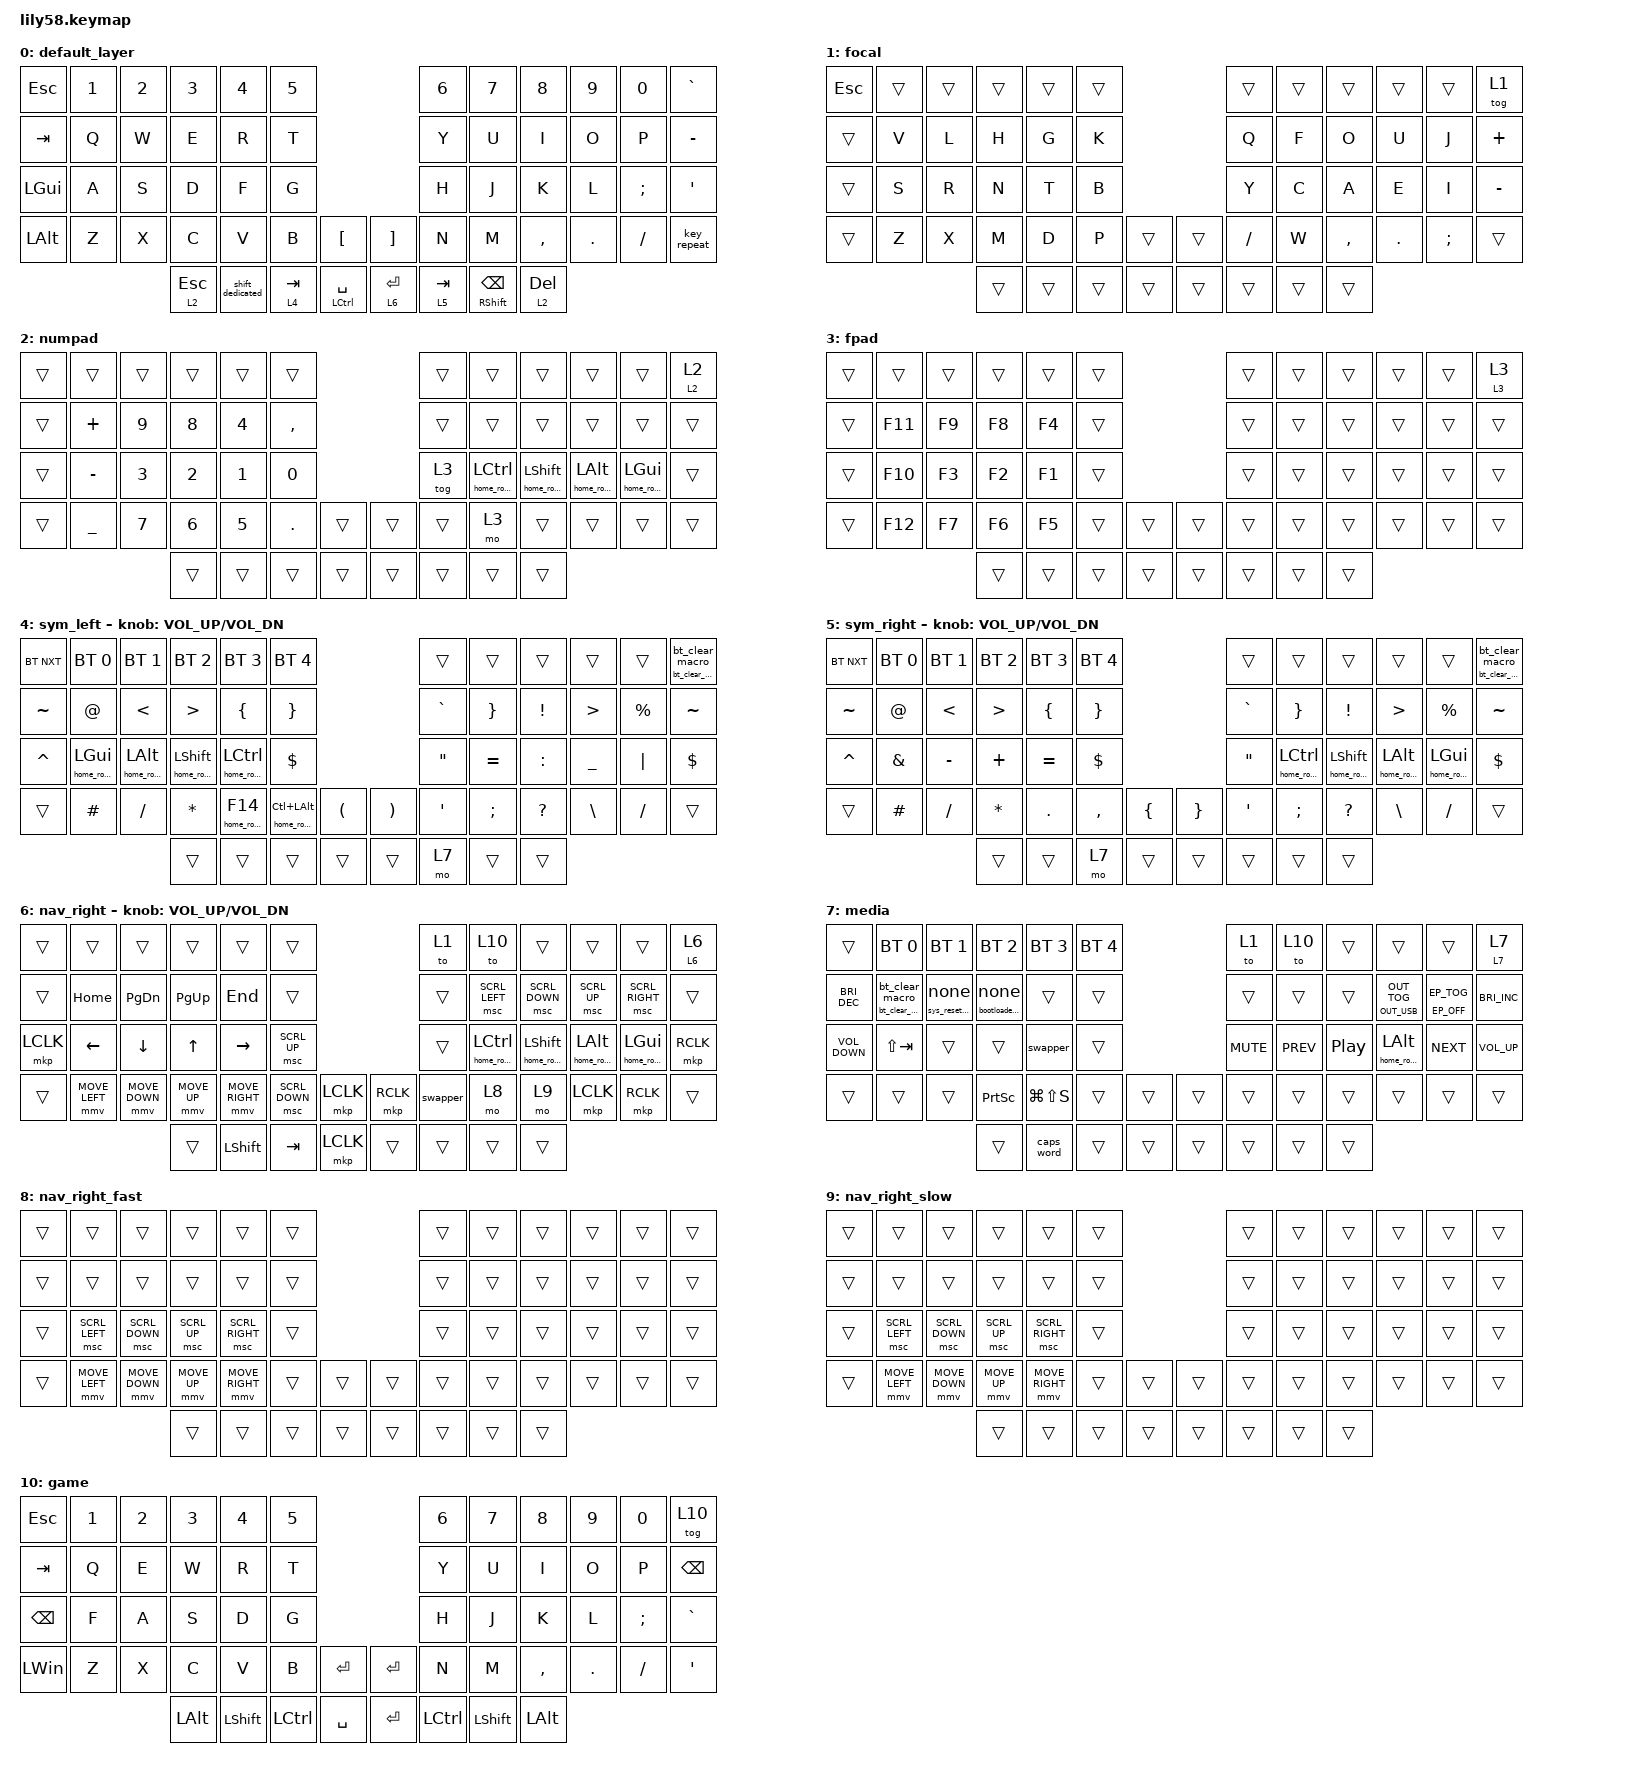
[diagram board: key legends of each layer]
/*
 * Copyright (c) 2020 The ZMK Contributors
 *
 * SPDX-License-Identifier: MIT
 */

#include <dt-bindings/zmk/mouse.h>
#include <input/processors.dtsi>
#include <behaviors.dtsi>
#include <dt-bindings/zmk/bt.h>
#include <dt-bindings/zmk/ext_power.h>
#include <dt-bindings/zmk/keys.h>
#include <dt-bindings/zmk/outputs.h>
#include <dt-bindings/zmk/pointing.h>

#define PRIOR_IDLE 150
#define PRIOR_IDLE_SHIFT 50
#define QUICK_TAP_MS 160
#define ZMK_POINTING_DEFAULT_MOVE_VAL 900 // default: 600
#define ZMK_POINTING_DEFAULT_SCRL_VAL 60    // default: 10
#define nav_right 6
#define nav_right_fast 8
#define nav_right_slow 9

&mmv {
    time-to-max-speed-ms = <0>;
    acceleration-exponent = <6>;
};

&msc {
    time-to-max-speed-ms = <0>;
    acceleration-exponent = <10>;
};

&mmv_input_listener {
    set_mouse_fast {
        layers = <nav_right_fast>;
        input-processors = <&zip_xy_scaler 2 1>;
    };
};

&mmv_input_listener {
    set_mouse_slow {
        layers = <nav_right_slow>;
        input-processors = <&zip_xy_scaler 2 5>;
    };
};

&msc_input_listener {
    set_mouse_fast {
        layers = <nav_right_fast>;
        input-processors = <&zip_xy_scaler 2 1>;
    };
};

&msc_input_listener {
    set_mouse_slow {
        layers = <nav_right_slow>;
        input-processors = <&zip_xy_scaler 2 5>;
    };
};

/ {
    combos {
        compatible = "zmk,combos";

        sticky_shift_left {
            bindings = <&sticky_shift LEFT_SHIFT>;
            key-positions = <>;
            require-prior-idle-ms = <100>;
            timeout-ms = <30>;
            layers = <0 1>;
        };

        sticky_shift_right {
            bindings = <&sticky_shift LEFT_SHIFT>;
            key-positions = <>;
            timeout-ms = <30>;
            require-prior-idle-ms = <100>;
            layers = <0 1>;
        };

        combo-copy {
            bindings = <&kp K_COPY>;
            key-positions = <38 39>;
            timeout-ms = <18>;
            require-prior-idle-ms = <150>;
            layers = <1 2 0>;
        };

        combo-paste {
            bindings = <&kp K_PASTE>;
            key-positions = <39 40>;
            timeout-ms = <18>;
            require-prior-idle-ms = <150>;
            layers = <1 2 0>;
        };

        combo-cut {
            bindings = <&kp K_CUT>;
            key-positions = <40 38>;
            timeout-ms = <18>;
            require-prior-idle-ms = <150>;
            layers = <1 2 0>;
        };
    };

    behaviors {
        ss_hs_modmorph: ss_hs_modmorph {
            compatible = "zmk,behavior-mod-morph";
            label = "SS_HS_MODMORPH";
            bindings = <&kp M>, <&kp RIGHT_BRACKET>;

            #binding-cells = <0>;
            mods = <(MOD_LSFT|MOD_RSFT)>;
        };

        kh_hs_tapdance: kh_hs_tapdance {
            compatible = "zmk,behavior-tap-dance";
            label = "KH_HS_TAPDANCE";
            #binding-cells = <0>;
            tapping-term-ms = <200>;
            bindings = <&kp LEFT_BRACKET>, <&kp RIGHT_BRACKET>;
        };

        hrm: hrm {
            compatible = "zmk,behavior-hold-tap";
            #binding-cells = <2>;
            flavor = "tap-preferred";
            tapping-term-ms = <200>;
            quick-tap-ms = <200>;
            require-prior-idle-ms = <125>;
            bindings = <&kp>, <&kp>;
        };

        shift_caps: shift_caps {
            compatible = "zmk,behavior-hold-tap";
            label = "SHIFT_CAPS";
            bindings = <&kp>, <&caps_word>;

            #binding-cells = <2>;
            flavor = "hold-preferred";
            tapping-term-ms = <200>;
        };

        home_row_sticky: home_row_sticky {
            compatible = "zmk,behavior-sticky-key";
            label = "HOME_ROW_STICKY";
            bindings = <&kp>;
            #binding-cells = <1>;
            release-after-ms = <1000>;
            quick-release;
            ignore-modifiers;
        };

        key_mod_thumb: key_mod_thumb {
            compatible = "zmk,behavior-hold-tap";
            label = "KEY_MOD_THUMB";
            bindings = <&kp>, <&kp>;

            #binding-cells = <2>;
            tapping-term-ms = <250>;
            flavor = "hold-preferred";
            quick-tap-ms = <200>;
            require-prior-idle-ms = <30>;
            hold-while-undecided;
        };

        key_layer: key_layer {
            compatible = "zmk,behavior-hold-tap";
            label = "KEY_LAYER";
            bindings = <&mo>, <&kp>;

            #binding-cells = <2>;
            tapping-term-ms = <250>;
            flavor = "hold-preferred";
            quick-tap-ms = <200>;
            require-prior-idle-ms = <30>;
        };

        key_repeat_mod: key_repeat_mod {
            compatible = "zmk,behavior-hold-tap";
            label = "KEY_REPEAT_MOD";
            bindings = <&kp>, <&key_repeat>;

            #binding-cells = <2>;
            tapping-term-ms = <200>;
            flavor = "hold-preferred";
            quick-tap-ms = <160>;
            require-prior-idle-ms = <50>;
        };

        sticky_shift: sticky_shift {
            compatible = "zmk,behavior-sticky-key";
            label = "STICKY_SHIFT";
            bindings = <&sk>;
            #binding-cells = <1>;
            release-after-ms = <600>;
            ignore-modifiers;
            quick-release;
        };

        layer_fix: layer_fix {
            compatible = "zmk,behavior-hold-tap";
            label = "LAYER_FIX";
            bindings = <&to>, <&tog>;

            #binding-cells = <2>;
            tapping-term-ms = <200>;
        };

        key_layer_thumb: key_layer_thumb {
            compatible = "zmk,behavior-hold-tap";
            label = "KEY_LAYER_THUMB";
            bindings = <&mo>, <&kp>;

            #binding-cells = <2>;
            tapping-term-ms = <250>;
            flavor = "hold-preferred";
            quick-tap-ms = <200>;
            require-prior-idle-ms = <30>;
            hold-while-undecided;
        };

        shift_dedicated: shift_dedicated {
            compatible = "zmk,behavior-tap-dance";
            label = "SHIFT_DEDICATED";
            #binding-cells = <0>;
            bindings = <&sticky_shift LEFT_SHIFT>, <&caps_word>;
        };

        key_mod_shift: key_mod_shift {
            compatible = "zmk,behavior-hold-tap";
            label = "KEY_MOD_SHIFT";
            bindings = <&kp>, <&kp>;

            #binding-cells = <2>;
            tapping-term-ms = <250>;
            flavor = "hold-preferred";
            quick-tap-ms = <200>;
            require-prior-idle-ms = <0>;
            hold-while-undecided;
        };

        sticky_ctrl: sticky_ctrl {
            compatible = "zmk,behavior-sticky-key";
            label = "STICKY_CTRL";
            bindings = <&sk>;
            #binding-cells = <1>;
            release-after-ms = <200>;
            ignore-modifiers;
            quick-release;
        };

        swapper: swapper {
            compatible = "zmk,behavior-smart-toggle";
            #binding-cells = <0>;
            bindings = <&kp LALT>, <&kp TAB>;

            ignored-key-positions = <12>, <25>, <51>, <52>, <55>, <56>;
        };

        layer_sticky: layer_sticky {
            compatible = "zmk,behavior-hold-tap";
            label = "LAYER_STICKY";
            bindings = <&mo>, <&home_row_sticky>;

            #binding-cells = <2>;
            tapping-term-ms = <200>;
            flavor = "balanced";
            quick-tap-ms = <199>;
            require-prior-idle-ms = <0>;
        };

        sys_reset_hold: sys_reset_hold {
            compatible = "zmk,behavior-hold-tap";
            label = "SYS_RESET_HOLD";
            bindings = <&sys_reset_macro>, <&none>;

            #binding-cells = <2>;
            flavor = "tap-preferred";
            tapping-term-ms = <3000>;
        };

        bt_reset_hold: bt_reset_hold {
            compatible = "zmk,behavior-hold-tap";
            label = "BT_RESET_HOLD";
            bindings = <&bt_clear_all_macro>, <&bt_clear_macro>;

            #binding-cells = <2>;
            tapping-term-ms = <3000>;
            flavor = "tap-preferred";
        };

        bootloader_reset_hold: bootloader_reset_hold {
            compatible = "zmk,behavior-hold-tap";
            label = "BOOTLOADER_RESET_HOLD";
            bindings = <&bootloader_reset_macro>, <&none>;

            #binding-cells = <2>;
            tapping-term-ms = <3000>;
            flavor = "tap-preferred";
        };

        output_hold: output_hold {
            compatible = "zmk,behavior-hold-tap";
            label = "OUTPUT_HOLD";
            bindings = <&out>, <&out>;

            #binding-cells = <2>;
            flavor = "tap-preferred";
            tapping-term-ms = <2000>;
        };

        ext_power_hold: ext_power_hold {
            compatible = "zmk,behavior-hold-tap";
            label = "EXT_POWER_HOLD";
            bindings = <&ext_power>, <&ext_power>;

            #binding-cells = <2>;
            tapping-term-ms = <2000>;
            flavor = "tap-preferred";
        };
    };

    macros {
        arrow_right: arrow_right {
            compatible = "zmk,behavior-macro";
            #binding-cells = <0>;
            bindings = <&kp MINUS &kp GT>;
            label = "ARROW_RIGHT";
        };

        right_arrow_wide: right_arrow_wide {
            compatible = "zmk,behavior-macro";
            #binding-cells = <0>;
            bindings = <&kp EQUAL &kp GT>;
            label = "RIGHT_ARROW_WIDE";
        };

        bt_clear_macro: bt_clear_macro {
            compatible = "zmk,behavior-macro";
            #binding-cells = <0>;
            bindings = <&bt BT_CLR>;
            label = "BT_CLEAR_MACRO";
        };

        bt_clear_all_macro: bt_clear_all_macro {
            compatible = "zmk,behavior-macro";
            #binding-cells = <0>;
            bindings = <&bt BT_CLR_ALL>;
            label = "BT_CLEAR_ALL_MACRO";
        };

        sys_reset_macro: sys_reset_macro {
            compatible = "zmk,behavior-macro";
            #binding-cells = <0>;
            bindings = <&sys_reset>;
            label = "SYS_RESET_MACRO";
        };

        bootloader_reset_macro: bootloader_reset_macro {
            compatible = "zmk,behavior-macro";
            #binding-cells = <0>;
            bindings = <&bootloader>;
            label = "BOOTLOADER_RESET_MACRO";
        };
    };

    keymap {
        compatible = "zmk,keymap";

        default_layer {
            // ------------------------------------------------------------------------------------------------------------
            // |  ESC  |  1  |  2  |  3   |  4   |  5   |                   |  6   |  7    |  8    |  9   |   0   |   `   |
            // |  TAB  |  Q  |  W  |  E   |  R   |  T   |                   |  Y   |  U    |  I    |  O   |   P   |   -   |
            // |  CTRL |  A  |  S  |  D   |  F   |  G   |                   |  H   |  J    |  K    |  L   |   ;   |   '   |
            // | SHIFT |  Z  |  X  |  C   |  V   |  B   |   "["  |  |  "]"  |  N   |  M    |  ,    |  .   |   /   | SHIFT |
            //                     | ALT  | GUI  | LOWER|  SPACE |  | ENTER | RAISE| BSPC  | GUI   |

            bindings = <
&kp ESC       &kp N1  &kp N2  &kp N3                  &kp N4            &kp N5                                                                    &kp N6            &kp N7                                &kp N8               &kp N9   &kp N0    &kp GRAVE
&kp TAB       &kp Q   &kp W   &kp E                   &kp R             &kp T                                                                     &kp Y             &kp U                                 &kp I                &kp O    &kp P     &kp MINUS
&kp LEFT_GUI  &kp A   &kp S   &kp D                   &kp F             &kp G                                                                     &kp H             &kp J                                 &kp K                &kp L    &kp SEMI  &kp SQT
&kp LEFT_ALT  &kp Z   &kp X   &kp C                   &kp V             &kp B             &kp LBKT                      &kp RBKT                  &kp N             &kp M                                 &kp COMMA            &kp DOT  &kp FSLH  &key_repeat
                              &layer_sticky 2 ESCAPE  &shift_dedicated  &key_layer 4 TAB  &key_mod_thumb LCTRL SPACE    &key_layer_thumb 6 ENTER  &key_layer 5 TAB  &key_mod_shift RIGHT_SHIFT BACKSPACE  &key_layer 2 DELETE
            >;
        };

        focal {
            bindings = <
&kp ESC  &trans  &trans  &trans  &trans  &trans                    &trans     &trans  &trans     &trans   &trans    &tog 1
&trans   &kp V   &kp L   &kp H   &kp G   &kp K                     &kp Q      &kp F   &kp O      &kp U    &kp J     &kp PLUS
&trans   &kp S   &kp R   &kp N   &kp T   &kp B                     &kp Y      &kp C   &kp A      &kp E    &kp I     &kp MINUS
&trans   &kp Z   &kp X   &kp M   &kp D   &kp P   &trans    &trans  &kp SLASH  &kp W   &kp COMMA  &kp DOT  &kp SEMI  &trans
                         &trans  &trans  &trans  &trans    &trans  &trans     &trans  &trans
            >;
        };

        numpad {
            bindings = <
&trans  &trans          &trans        &trans        &trans        &trans                        &trans  &trans                  &trans                       &trans                     &trans                     &layer_fix 2 2
&trans  &kp PLUS        &kp N9        &kp N8        &kp NUMBER_4  &kp COMMA                     &trans  &trans                  &trans                       &trans                     &trans                     &trans
&trans  &kp MINUS       &kp NUMBER_3  &kp NUMBER_2  &kp NUMBER_1  &kp N0                        &tog 3  &home_row_sticky LCTRL  &home_row_sticky LEFT_SHIFT  &home_row_sticky LEFT_ALT  &home_row_sticky LEFT_GUI  &trans
&trans  &kp UNDERSCORE  &kp N7        &kp NUMBER_6  &kp N5        &kp PERIOD  &trans    &trans  &trans  &mo 3                   &trans                       &trans                     &trans                     &trans
                                      &trans        &trans        &trans      &trans    &trans  &trans  &trans                  &trans
            >;
        };

        fpad {
            bindings = <
&trans  &trans   &trans  &trans  &trans  &trans                    &trans  &trans  &trans  &trans  &trans  &layer_fix 3 3
&trans  &kp F11  &kp F9  &kp F8  &kp F4  &trans                    &trans  &trans  &trans  &trans  &trans  &trans
&trans  &kp F10  &kp F3  &kp F2  &kp F1  &trans                    &trans  &trans  &trans  &trans  &trans  &trans
&trans  &kp F12  &kp F7  &kp F6  &kp F5  &trans  &trans    &trans  &trans  &trans  &trans  &trans  &trans  &trans
                         &trans  &trans  &trans  &trans    &trans  &trans  &trans  &trans
            >;
        };

        sym_left {
            // ------------------------------------------------------------------------------------------------------------
            // | BTCLR | BT1 | BT2 |  BT3 |  BT4 |  BT5 |                   |      |       |       |      |       |       |
            // |  F1   |  F2 |  F3 |  F4  |  F5  |  F6  |                   |  F7  |  F8   |  F9   |  F10 |  F11  |  F12  |
            // |   `   |  !  |  @  |  #   |  $   |  %   |                   |  ^   |  &    |  *    |  (   |   )   |   ~   |
            // |       |     |     |      |      |      |        |  |       |      |  _    |  +    |  {   |   }   |  "|"  |
            //                     |      |      |      |        |  |       |      |       |       |

            bindings = <
&bt BT_NXT  &bt BT_SEL 0               &bt BT_SEL 1               &bt BT_SEL 2                 &bt BT_SEL 3            &bt BT_SEL 4                                         &trans             &trans         &trans        &trans            &trans       &bt_reset_hold 0 0
&kp TILDE   &kp AT                     &kp LESS_THAN              &kp GREATER_THAN             &kp LEFT_BRACE          &kp RIGHT_BRACE                                      &kp GRAVE          &kp RBRC       &kp EXCL      &kp GREATER_THAN  &kp PERCENT  &kp TILDE
&kp CARET   &home_row_sticky LEFT_GUI  &home_row_sticky LEFT_ALT  &home_row_sticky LEFT_SHIFT  &home_row_sticky LCTRL  &kp DOLLAR                                           &kp DOUBLE_QUOTES  &kp EQUAL      &kp COLON     &kp UNDER         &kp PIPE     &kp DOLLAR
&trans      &kp HASH                   &kp SLASH                  &kp ASTERISK                 &home_row_sticky F14    &home_row_sticky LC(LEFT_ALT)  &kp LPAR    &kp RPAR  &kp SINGLE_QUOTE   &kp SEMICOLON  &kp QUESTION  &kp BACKSLASH     &kp SLASH    &trans
                                                                  &trans                       &trans                  &trans                         &trans      &trans    &mo 7              &trans         &trans
            >;

            sensor-bindings = <&inc_dec_kp C_VOL_UP C_VOL_DN>;
        };

        sym_right {
            bindings = <
&bt BT_NXT  &bt BT_SEL 0   &bt BT_SEL 1   &bt BT_SEL 2      &bt BT_SEL 3    &bt BT_SEL 4                                        &trans             &trans                  &trans                  &trans                     &trans                 &bt_reset_hold 0 0
&kp TILDE   &kp AT         &kp LESS_THAN  &kp GREATER_THAN  &kp LEFT_BRACE  &kp RIGHT_BRACE                                     &kp GRAVE          &kp RIGHT_BRACE         &kp EXCL                &kp GREATER_THAN           &kp PERCENT            &kp TILDE
&kp CARET   &kp AMPERSAND  &kp MINUS      &kp PLUS          &kp EQUAL       &kp DOLLAR                                          &kp DOUBLE_QUOTES  &home_row_sticky LCTRL  &home_row_sticky LSHFT  &home_row_sticky LEFT_ALT  &home_row_sticky LGUI  &kp DOLLAR
&trans      &kp HASH       &kp SLASH      &kp ASTERISK      &kp DOT         &kp COMMA        &kp LEFT_BRACE    &kp RIGHT_BRACE  &kp SINGLE_QUOTE   &kp SEMICOLON           &kp QUESTION            &kp BACKSLASH              &kp SLASH              &trans
                                          &trans            &trans          &mo 7            &trans            &trans           &trans             &trans                  &trans
            >;

            sensor-bindings = <&inc_dec_kp C_VOL_UP C_VOL_DN>;
        };

        nav_right {
            // ------------------------------------------------------------------------------------------------------------
            // |       |     |     |      |      |      |                   |      |       |       |      |       |       |
            // |   `   |  1  |  2  |  3   |  4   |  5   |                   |  6   |   7   |   8   |  9   |   0   |       |
            // |   F1  |  F2 |  F3 |  F4  |  F5  |  F6  |                   |      |   <-  |   v   |  ^   |  ->   |       |
            // |   F7  |  F8 |  F9 |  F10 |  F11 |  F12 |        |  |       |  +   |   -   |   =   |  [   |   ]   |   \   |
            //                     |      |      |      |        |  |       |      |       |       |

            bindings = <
&trans     &trans          &trans          &trans        &trans           &trans                                  &to 1     &to 10                         &trans                       &trans                     &trans                     &layer_fix 6 6
&trans     &kp HOME        &kp PAGE_DOWN   &kp PAGE_UP   &kp END          &trans                                  &trans    &msc SCRL_LEFT                 &msc SCRL_DOWN               &msc SCRL_UP               &msc SCRL_RIGHT            &trans
&mkp LCLK  &kp LEFT_ARROW  &kp DOWN_ARROW  &kp UP_ARROW  &kp RIGHT_ARROW  &msc SCRL_UP                            &trans    &home_row_sticky LEFT_CONTROL  &home_row_sticky LEFT_SHIFT  &home_row_sticky LEFT_ALT  &home_row_sticky LEFT_GUI  &mkp RCLK
&trans     &mmv MOVE_LEFT  &mmv MOVE_DOWN  &mmv MOVE_UP  &mmv MOVE_RIGHT  &msc SCRL_DOWN  &mkp LCLK    &mkp RCLK  &swapper  &mo 8                          &mo 9                        &mkp LCLK                  &mkp RCLK                  &trans
                                           &trans        &kp LEFT_SHIFT   &kp TAB         &mkp LCLK    &trans     &trans    &trans                         &trans
            >;

            sensor-bindings = <&inc_dec_kp C_VOL_UP C_VOL_DN>;
        };

        media {
            bindings = <
&trans                &bt BT_SEL 0        &bt BT_SEL 1         &bt BT_SEL 2                &bt BT_SEL 3   &bt BT_SEL 4                    &to 1       &to 10      &trans            &trans                        &trans                         &layer_fix 7 7
&kp C_BRIGHTNESS_DEC  &bt_reset_hold 0 0  &sys_reset_hold 0 0  &bootloader_reset_hold 0 0  &trans         &trans                          &trans      &trans      &trans            &output_hold OUT_USB OUT_TOG  &ext_power_hold EP_OFF EP_TOG  &kp C_BRIGHTNESS_INC
&kp C_VOLUME_DOWN     &kp LS(TAB)         &trans               &trans                      &swapper       &trans                          &kp C_MUTE  &kp C_PREV  &kp C_PLAY_PAUSE  &home_row_sticky LEFT_ALT     &kp C_NEXT                     &kp C_VOLUME_UP
&trans                &trans              &trans               &kp PRINTSCREEN             &kp LG(LS(S))  &trans        &trans    &trans  &trans      &trans      &trans            &trans                        &trans                         &trans
                                                               &trans                      &caps_word     &trans        &trans    &trans  &trans      &trans      &trans
            >;
        };

        nav_right_fast {
            bindings = <
&trans  &trans          &trans          &trans        &trans           &trans                    &trans  &trans  &trans  &trans  &trans  &trans
&trans  &trans          &trans          &trans        &trans           &trans                    &trans  &trans  &trans  &trans  &trans  &trans
&trans  &msc SCRL_LEFT  &msc SCRL_DOWN  &msc SCRL_UP  &msc SCRL_RIGHT  &trans                    &trans  &trans  &trans  &trans  &trans  &trans
&trans  &mmv MOVE_LEFT  &mmv MOVE_DOWN  &mmv MOVE_UP  &mmv MOVE_RIGHT  &trans  &trans    &trans  &trans  &trans  &trans  &trans  &trans  &trans
                                        &trans        &trans           &trans  &trans    &trans  &trans  &trans  &trans
            >;
        };

        nav_right_slow {
            bindings = <
&trans  &trans          &trans          &trans        &trans           &trans                    &trans  &trans  &trans  &trans  &trans  &trans
&trans  &trans          &trans          &trans        &trans           &trans                    &trans  &trans  &trans  &trans  &trans  &trans
&trans  &msc SCRL_LEFT  &msc SCRL_DOWN  &msc SCRL_UP  &msc SCRL_RIGHT  &trans                    &trans  &trans  &trans  &trans  &trans  &trans
&trans  &mmv MOVE_LEFT  &mmv MOVE_DOWN  &mmv MOVE_UP  &mmv MOVE_RIGHT  &trans  &trans    &trans  &trans  &trans  &trans  &trans  &trans  &trans
                                        &trans        &trans           &trans  &trans    &trans  &trans  &trans  &trans
            >;
        };

        game {
            bindings = <
&kp ESC        &kp N1  &kp N2  &kp N3    &kp N4          &kp N5                             &kp N6     &kp N7          &kp N8     &kp N9   &kp N0    &tog 10
&kp TAB        &kp Q   &kp E   &kp W     &kp R           &kp T                              &kp Y      &kp U           &kp I      &kp O    &kp P     &kp BSPC
&kp BACKSPACE  &kp F   &kp A   &kp S     &kp D           &kp G                              &kp H      &kp J           &kp K      &kp L    &kp SEMI  &kp GRAVE
&kp LEFT_WIN   &kp Z   &kp X   &kp C     &kp V           &kp B      &kp ENTER    &kp ENTER  &kp N      &kp M           &kp COMMA  &kp DOT  &kp FSLH  &kp APOS
                               &kp LALT  &kp LEFT_SHIFT  &kp LCTRL  &kp SPACE    &kp ENTER  &kp LCTRL  &kp LEFT_SHIFT  &kp LALT
            >;
        };
    };
};
